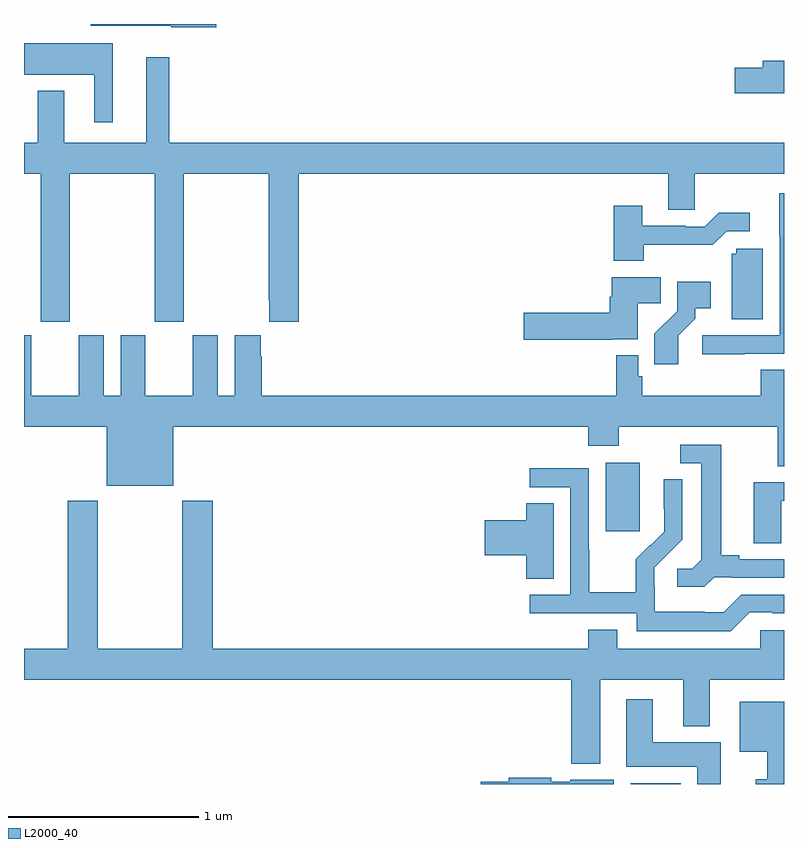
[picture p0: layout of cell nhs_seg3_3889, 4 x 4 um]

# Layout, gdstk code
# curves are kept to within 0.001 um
import gdstk
lib = gdstk.Library(unit=1e-6, precision=1e-09)
def R(c, l, rs):  # rectangles x0, y0, x1, y1
    for r in rs: c.add(gdstk.rectangle(r[:2], r[2:], *l))
def P(c, l, *ps):  # polygons
    for p in ps: c.add(gdstk.Polygon(p, *l))
L2000_40 = (2000, 40)

nhs_seg3_3889 = lib.new_cell('nhs_seg3_3889')
R(nhs_seg3_3889, L2000_40, [(316.193,668.4,316.456,668.404), (316.061,669.729,316.24,670.09)])
P(nhs_seg3_3889, L2000_40, [(314.011,672.4),(313.35,672.4),(313.35,672.392),(313.776,672.392),(313.776,672.383),(314.011,672.383)],
  [(313.468,672.298),(313,672.298),(313,672.134),(313.37,672.134),(313.37,671.883),(313.468,671.883)],
  [(313.242,671.612),(313.687,671.612),(313.687,670.833),(313.842,670.833),(313.842,671.612),(314.287,671.612),(314.287,670.945),(314.291,670.945),(314.291,670.833),(314.447,670.833),(314.447,671.612),(316.391,671.612),(316.391,671.422),(316.53,671.422),(316.53,671.612),(317,671.612),(317,671.776),(313.765,671.776),(313.765,672.226),(313.643,672.226),(313.643,671.776),(313.213,671.776),(313.213,672.049),(313.073,672.049),(313.073,671.776),(313,671.776),(313,671.612),(313.087,671.612),(313.087,670.833),(313.242,670.833)],
  [(317,672.206),(316.889,672.206),(316.889,672.17),(316.74,672.17),(316.74,672.035),(317,672.035)],
  [(316.793,670.665),(317,670.665),(317,671.509),(316.976,671.509),(316.976,671.286),(316.977,671.286),(316.977,670.761),(316.569,670.761),(316.569,670.663),(316.793,670.663)],
  [(316.263,671.238),(316.625,671.237),(316.698,671.31),(316.819,671.31),(316.819,671.407),(316.657,671.407),(316.584,671.334),(316.484,671.334),(316.484,671.337),(316.255,671.337),(316.255,671.443),(316.103,671.443),(316.103,671.153),(316.263,671.153)],
  [(316.888,671.217),(316.749,671.217),(316.749,671.19),(316.724,671.19),(316.724,670.846),(316.888,670.846)],
  [(316.098,670.742),(316.231,670.742),(316.231,670.93),(316.352,670.93),(316.352,671.068),(316.094,671.068),(316.094,670.964),(316.082,670.964),(316.082,670.88),(315.63,670.88),(315.63,670.738),(316.098,670.738)],
  [(316.444,670.759),(316.534,670.849),(316.534,670.904),(316.615,670.904),(316.615,671.044),(316.437,671.044),(316.437,670.889),(316.318,670.77),(316.318,670.608),(316.444,670.608)],
  [(313.786,670.28),(315.971,670.28),(315.971,670.181),(316.131,670.181),(316.131,670.28),(316.967,670.28),(316.967,670.072),(317,670.072),(317,670.58),(316.877,670.58),(316.877,670.444),(316.253,670.444),(316.253,670.545),(316.233,670.545),(316.233,670.657),(316.117,670.657),(316.117,670.444),(314.252,670.444),(314.252,670.649),(314.245,670.649),(314.245,670.762),(314.108,670.762),(314.108,670.444),(314.02,670.444),(314.02,670.762),(313.889,670.762),(313.889,670.444),(313.639,670.444),(313.639,670.762),(313.508,670.762),(313.508,670.444),(313.42,670.444),(313.42,670.762),(313.289,670.762),(313.289,670.444),(313.039,670.444),(313.039,670.762),(313,670.762),(313,670.28),(313.436,670.28),(313.436,669.971),(313.786,669.971)],
  [(316.632,669.489),(316.726,669.489),(316.726,669.486),(317,669.486),(317,669.582),(316.765,669.582),(316.765,669.605),(316.669,669.605),(316.669,670.185),(316.455,670.185),(316.455,670.089),(316.565,670.089),(316.565,669.581),(316.518,669.534),(316.437,669.534),(316.437,669.437),(316.58,669.437)],
  [(316.821,669.303),(316.937,669.303),(316.937,669.3),(317,669.3),(317,669.396),(316.776,669.396),(316.683,669.303),(316.583,669.303),(316.583,669.307),(316.32,669.307),(316.32,669.441),(316.318,669.441),(316.318,669.538),(316.464,669.686),(316.464,670.004),(316.368,670.004),(316.368,669.85),(316.37,669.85),(316.37,669.728),(316.299,669.657),(316.296,669.66),(316.219,669.583),(316.219,669.409),(315.975,669.409),(315.975,669.632),(315.972,669.632),(315.972,670.062),(315.663,670.062),(315.663,669.963),(315.876,669.963),(315.876,669.396),(315.663,669.396),(315.663,669.3),(316.224,669.3),(316.224,669.203),(316.721,669.203)],
  [(316.986,669.891),(317,669.891),(317,669.987),(316.841,669.987),(316.841,669.667),(316.986,669.667)],
  [(316.033,668.948),(316.469,668.948),(316.469,668.705),(316.609,668.705),(316.609,668.948),(317,668.948),(317,669.21),(316.875,669.21),(316.875,669.112),(316.123,669.112),(316.123,669.211),(315.971,669.211),(315.971,669.112),(313.994,669.112),(313.994,669.892),(313.834,669.892),(313.834,669.112),(313.389,669.112),(313.389,669.892),(313.229,669.892),(313.229,669.112),(313,669.112),(313,668.948),(315.881,668.948),(315.881,668.507),(316.033,668.507)],
  [(315.787,669.878),(315.644,669.878),(315.644,669.788),(315.426,669.788),(315.426,669.605),(315.644,669.605),(315.644,669.481),(315.787,669.481)],
  [(316.666,668.62),(316.309,668.62),(316.309,668.845),(316.169,668.845),(316.169,668.492),(316.544,668.492),(316.544,668.4),(316.666,668.4)],
  [(317,668.833),(316.766,668.833),(316.766,668.57),(316.913,668.57),(316.913,668.425),(316.85,668.425),(316.85,668.4),(317,668.4)],
  [(316.105,668.422),(315.876,668.422),(315.876,668.412),(315.776,668.412),(315.776,668.432),(315.55,668.432),(315.55,668.412),(315.404,668.412),(315.404,668.4),(316.105,668.4)])

lib.write_gds('nhs_seg3_3889.gds')
